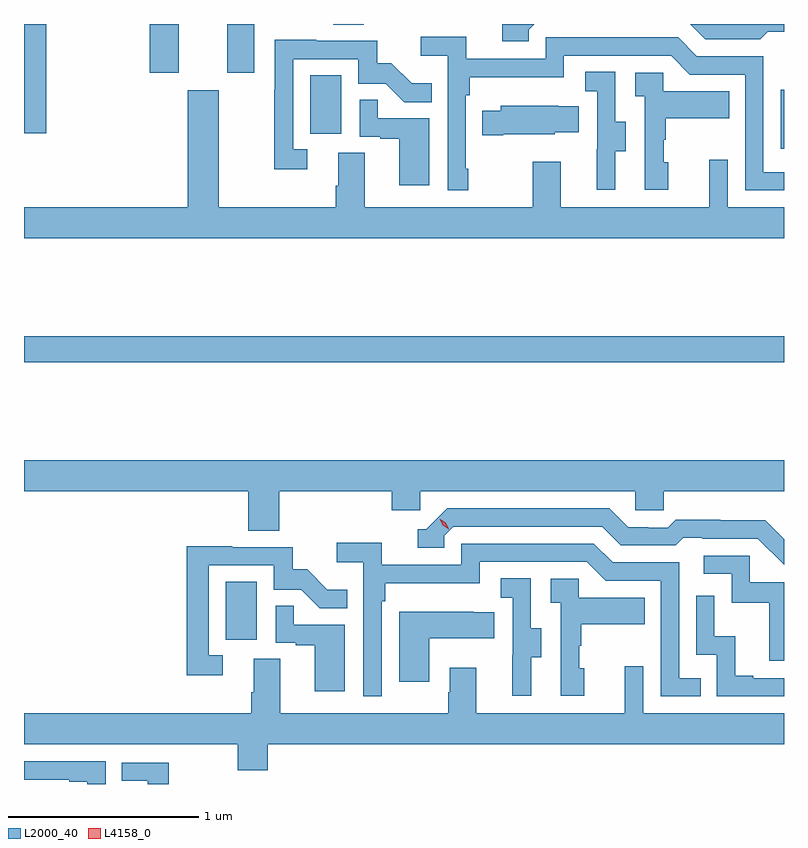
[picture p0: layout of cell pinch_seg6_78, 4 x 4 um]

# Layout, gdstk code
import gdstk
lib = gdstk.Library(unit=1e-6, precision=1e-09)
def R(c, l, rs):  # rectangles x0, y0, x1, y1
    for r in rs: c.add(gdstk.rectangle(r[:2], r[2:], *l))
def P(c, l, *ps):  # polygons
    for p in ps: c.add(gdstk.Polygon(p, *l))
L2000_40 = (2000, 40)
L4158_0 = (4158, 0)

pinch_seg6_78 = lib.new_cell('pinch_seg6_78')
R(pinch_seg6_78, L2000_40, [(924.56,929.238,924.724,929.545), (923.498,930.7,927.498,930.836), (927.48,931.824,927.498,932.134), (925.004,931.902,925.168,932.209), (923.498,931.905,923.615,932.48), (924.161,932.223,924.313,932.48), (924.569,932.223,924.709,932.48), (925.126,932.476,925.286,932.48)])
P(pinch_seg6_78, L2000_40, [(927.412,932.439),(927.498,932.439),(927.498,932.48),(927.004,932.48),(927.084,932.4),(927.373,932.4)],
  [(926.154,932.451),(926.183,932.48),(926.015,932.48),(926.015,932.388),(926.154,932.388)],
  [(925.837,931.717),(925.824,931.717),(925.824,932.105),(925.844,932.105),(925.844,932.201),(926.34,932.201),(926.34,932.313),(926.904,932.313),(927.003,932.214),(927.294,932.214),(927.294,931.605),(927.498,931.605),(927.498,931.701),(927.39,931.701),(927.39,932.31),(927.04,932.31),(926.941,932.409),(926.244,932.409),(926.244,932.298),(925.826,932.298),(925.826,932.414),(925.587,932.414),(925.587,932.312),(925.728,932.312),(925.728,931.605),(925.837,931.605)],
  [(924.988,931.821),(924.915,931.821),(924.915,932.295),(925.257,932.295),(925.257,932.166),(925.401,932.166),(925.499,932.068),(925.643,932.068),(925.643,932.167),(925.539,932.167),(925.432,932.274),(925.356,932.274),(925.356,932.391),(925.037,932.391),(925.037,932.396),(924.819,932.396),(924.819,932.135),(924.814,932.135),(924.814,931.716),(924.988,931.716)],
  [(926.611,931.81),(926.665,931.81),(926.665,931.965),(926.61,931.965),(926.61,932.228),(926.451,932.228),(926.451,932.125),(926.514,932.125),(926.514,931.821),(926.513,931.821),(926.513,931.608),(926.611,931.608)],
  [(926.89,931.752),(926.865,931.752),(926.865,931.871),(926.875,931.871),(926.875,931.985),(927.209,931.985),(927.209,932.125),(926.862,932.125),(926.862,932.223),(926.715,932.223),(926.715,932.099),(926.766,932.099),(926.766,931.608),(926.89,931.608)],
  [(927.498,931.516),(927.201,931.516),(927.201,931.765),(927.104,931.765),(927.104,931.516),(926.323,931.516),(926.323,931.756),(926.176,931.756),(926.176,931.516),(925.291,931.516),(925.291,931.802),(925.151,931.802),(925.151,931.628),(925.139,931.628),(925.139,931.516),(924.523,931.516),(924.523,932.131),(924.359,932.131),(924.359,931.516),(923.498,931.516),(923.498,931.352),(927.498,931.352)],
  [(925.63,931.983),(925.361,931.983),(925.361,932.081),(925.266,932.081),(925.266,931.887),(925.373,931.887),(925.373,931.875),(925.472,931.875),(925.472,931.632),(925.63,931.632)],
  [(926.02,931.901),(926.292,931.901),(926.292,931.91),(926.417,931.91),(926.417,932.047),(926.309,932.047),(926.309,932.05),(926.007,932.05),(926.007,932.023),(925.909,932.023),(925.909,931.894),(926.02,931.894)],
  [(924.842,930.02),(925.433,930.02),(925.433,929.922),(925.584,929.922),(925.584,930.02),(926.715,930.02),(926.715,929.922),(926.865,929.922),(926.865,930.02),(927.498,930.02),(927.498,930.184),(923.498,930.184),(923.498,930.02),(924.677,930.02),(924.677,929.812),(924.842,929.812)],
  [(927.498,929.769),(927.398,929.869),(927.162,929.869),(927.162,929.872),(926.929,929.872),(926.887,929.829),(926.784,929.829),(926.784,929.832),(926.677,929.832),(926.578,929.931),(925.725,929.931),(925.614,929.82),(925.571,929.82),(925.571,929.724),(925.71,929.724),(925.71,929.787),(925.758,929.835),(926.541,929.835),(926.64,929.736),(926.929,929.736),(926.968,929.775),(927.067,929.775),(927.067,929.772),(927.36,929.772),(927.498,929.634)],
  [(925.38,929.441),(925.4,929.441),(925.4,929.537),(925.896,929.537),(925.896,929.649),(926.46,929.649),(926.559,929.55),(926.85,929.55),(926.85,928.941),(927.059,928.941),(927.059,929.037),(926.946,929.037),(926.946,929.646),(926.596,929.646),(926.497,929.745),(925.8,929.745),(925.8,929.634),(925.382,929.634),(925.382,929.75),(925.143,929.75),(925.143,929.648),(925.284,929.648),(925.284,928.941),(925.38,928.941)],
  [(924.544,929.157),(924.471,929.157),(924.471,929.631),(924.813,929.631),(924.813,929.502),(924.957,929.502),(925.055,929.404),(925.199,929.404),(925.199,929.503),(925.095,929.503),(924.988,929.61),(924.912,929.61),(924.912,929.727),(924.593,929.727),(924.593,929.732),(924.355,929.732),(924.355,929.052),(924.544,929.052)],
  [(927.498,929.541),(927.318,929.541),(927.318,929.682),(927.075,929.682),(927.075,929.586),(927.222,929.586),(927.222,929.433),(927.421,929.433),(927.421,929.13),(927.498,929.13)],
  [(926.167,929.146),(926.221,929.146),(926.221,929.301),(926.166,929.301),(926.166,929.564),(926.007,929.564),(926.007,929.461),(926.07,929.461),(926.07,929.157),(926.069,929.157),(926.069,928.944),(926.167,928.944)],
  [(926.446,929.088),(926.421,929.088),(926.421,929.207),(926.431,929.207),(926.431,929.321),(926.765,929.321),(926.765,929.461),(926.418,929.461),(926.418,929.559),(926.271,929.559),(926.271,929.435),(926.322,929.435),(926.322,928.944),(926.446,928.944)],
  [(927.498,929.037),(927.337,929.037),(927.337,929.05),(927.242,929.05),(927.242,929.258),(927.132,929.258),(927.132,929.47),(927.036,929.47),(927.036,929.16),(927.144,929.16),(927.144,928.941),(927.498,928.941)],
  [(925.186,929.319),(924.917,929.319),(924.917,929.417),(924.822,929.417),(924.822,929.223),(924.929,929.223),(924.929,929.211),(925.028,929.211),(925.028,928.968),(925.186,928.968)],
  [(925.63,929.246),(925.973,929.246),(925.973,929.383),(925.865,929.383),(925.865,929.386),(925.472,929.386),(925.472,929.019),(925.63,929.019)],
  [(927.498,928.852),(926.757,928.852),(926.757,929.101),(926.66,929.101),(926.66,928.852),(925.879,928.852),(925.879,929.092),(925.739,929.092),(925.739,928.964),(925.732,928.964),(925.732,928.852),(924.847,928.852),(924.847,929.138),(924.707,929.138),(924.707,928.964),(924.695,928.964),(924.695,928.852),(923.498,928.852),(923.498,928.688),(924.622,928.688),(924.622,928.553),(924.782,928.553),(924.782,928.688),(927.498,928.688)],
  [(923.928,928.599),(923.498,928.599),(923.498,928.503),(923.735,928.503),(923.735,928.491),(923.831,928.491),(923.831,928.48),(923.928,928.48)],
  [(924.259,928.593),(924.013,928.593),(924.013,928.496),(924.148,928.496),(924.148,928.48),(924.259,928.48)])
P(pinch_seg6_78, L4158_0, [(925.733,929.821),(925.703,929.841),(925.687,929.873),(925.687,929.874),(925.688,929.874),(925.718,929.854),(925.734,929.821),(925.734,929.821)])

lib.write_gds('pinch_seg6_78.gds')
